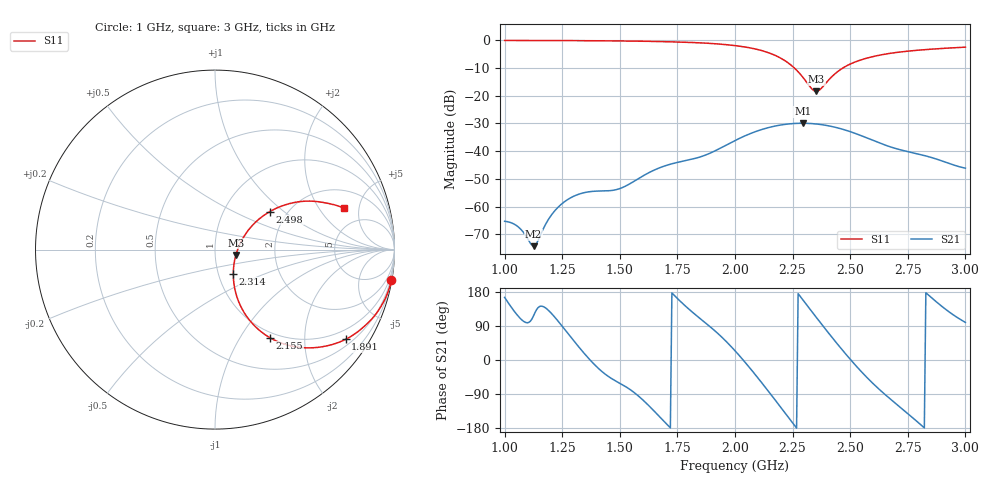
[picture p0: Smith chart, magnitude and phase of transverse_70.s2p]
! TOUCHSTONE file generated by CST MICROWAVE STUDIO
! Date and time: Tue Mar 11 13:56:28 2025
! Project name: transverse.cst
! Parameters = {Fracture=5; B=12.5; D=160; F=25; Feed=2.85625; L=100; M=30; R=0.384908; S=1; Theta=0; length=57.125; wave=114.25}
! Header version: 2024
! Port assignment regex: !\s*Touchstone port\s*([0-9]+)\s*=\s*(CST MWS port|CST DES external port|CST DES block port)\s*(.+)\s* \(\"(.*)\"\)(\s*mode\s*([0-9]+))?.*
! Touchstone port assignment:
! Touchstone port 1 = CST MWS port 1 ("")
! Touchstone port 2 = CST MWS port 2 ("")
# GHz S MA R 50
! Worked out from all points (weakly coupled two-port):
!   304 points, 1 GHz to 3 GHz, reference 50 ohm
!   highest |S21| = -29.92 dB at 2.294 GHz (marker M1); lowest = -74.3 dB at 1.125 GHz (marker M2)
!   lowest |S11| = -18.4 dB at 2.353 GHz (marker M3), VSWR 1.27, Z = 63 - j3.89 ohm
!   |S11| at or under -10 dB: 2.258 GHz to 2.468 GHz (209.6 MHz wide, 8.87 % of centre)
!   S12 and S22 are empty: the file has one direction only
!   S11 on the Smith chart (normalised r, x): 1 GHz: 0, -12; 1.891 GHz: 0.68, -3.09; 2.155 GHz: 0.92, -1.36; 2.314 GHz: 1.18, -0.33; 2.498 GHz: 1.63, +0.80; 3 GHz: 3.25, +3.49
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1  0.9975 -9.8  0.0005417 165.2  0 0.0  0 0.0
1.05941  0.997 -10.6  0.0004282 115.4  0 0.0  0 0.0
1.12541  0.9961 -11.5  0.0001927 116.4  0 0.0  0 0.0
1.13861  0.9958 -11.8  0.0002155 132.8  0 0.0  0 0.0
1.19142  0.9943 -12.6  0.0005972 130.4  0 0.0  0 0.0
1.22442  0.9932 -13.1  0.0009016 108.2  0 0.0  0 0.0
1.27723  0.9914 -14.1  0.001367 68.3  0 0.0  0 0.0
1.33663  0.9892 -15.2  0.001745 23.8  0 0.0  0 0.0
1.49505  0.9778 -18.8  0.002078 -59.8  0 0.0  0 0.0
1.66667  0.9545 -24.0  0.004897 -145.8  0 0.0  0 0.0
1.89109  0.8832 -34.5  0.009176 88.3  0 0.0  0 0.0
2.0033  0.802 -42.5  0.01579 22.2  0 0.0  0 0.0
2.15512  0.5789 -58.0  0.0273 -90.4  0 0.0  0 0.0
2.23432  0.3824 -65.2  0.03107 -153.3  0 0.0  0 0.0
2.29373  0.2182 -61.0  0.03193 159.3  0 0.0  0 0.0
2.31353  0.17 -53.1  0.03181 143.5  0 0.0  0 0.0
2.33993  0.1263 -30.7  0.03133 122.6  0 0.0  0 0.0
2.35314  0.1203 -14.6  0.03096 112.2  0 0.0  0 0.0
2.43894  0.2599 33.5  0.02676 46.3  0 0.0  0 0.0
2.49835  0.3712 34.7  0.02265 3.2  0 0.0  0 0.0
2.66997  0.5805 27.7  0.01212 -100.8  0 0.0  0 0.0
3  0.7548 17.8  0.004934 99.2  0 0.0  0 0.0
